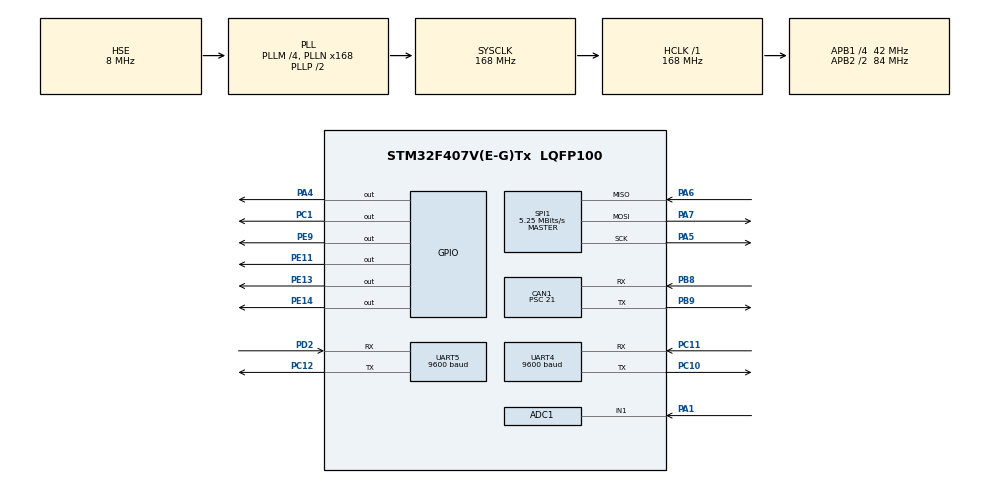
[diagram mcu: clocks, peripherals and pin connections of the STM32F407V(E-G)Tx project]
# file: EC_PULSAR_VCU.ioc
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ADC1.Channel-0\#ChannelRegularConversion=ADC_CHANNEL_1
ADC1.ContinuousConvMode=ENABLE
ADC1.DMAContinuousRequests=ENABLE
ADC1.NbrOfConversionFlag=1
ADC1.Rank-0\#ChannelRegularConversion=1
ADC1.SamplingTime-0\#ChannelRegularConversion=ADC_SAMPLETIME_112CYCLES
ADC1.ScanConvMode=ENABLE
ADC1.master=1
CAN1.BS1=CAN_BS1_10TQ
CAN1.BS2=CAN_BS2_5TQ
CAN1.CalculateBaudRate=125000
CAN1.CalculateTimeBit=8000
CAN1.CalculateTimeQuantum=500.0
CAN1.Prescaler=21
Dma.ADC1.0.Direction=DMA_PERIPH_TO_MEMORY
Dma.ADC1.0.FIFOMode=DMA_FIFOMODE_DISABLE
Dma.ADC1.0.Instance=DMA2_Stream0
Dma.ADC1.0.MemDataAlignment=DMA_MDATAALIGN_WORD
Dma.ADC1.0.MemInc=DMA_MINC_ENABLE
Dma.ADC1.0.Mode=DMA_CIRCULAR
Dma.ADC1.0.PeriphDataAlignment=DMA_PDATAALIGN_WORD
Dma.ADC1.0.PeriphInc=DMA_PINC_DISABLE
Dma.ADC1.0.Priority=DMA_PRIORITY_LOW
Dma.Request0=ADC1
FATFS._MAX_SS=4096
FATFS._USE_LFN=1
Mcu.Family=STM32F4
Mcu.Name=STM32F407V(E-G)Tx
Mcu.Package=LQFP100
NVIC.CAN1_RX0_IRQn=true\:0\:0\:false\:false\:true\:true\:true\:true
NVIC.DMA2_Stream0_IRQn=true\:0\:0\:false\:false\:true\:false\:true\:true
NVIC.PriorityGroup=NVIC_PRIORITYGROUP_4
NVIC.TIM2_IRQn=true\:0\:0\:false\:false\:true\:true\:true\:true
PA1.Signal=ADCx_IN1
PA13.Mode=Serial_Wire
PA13.Signal=SYS_JTMS-SWDIO
PA14.Mode=Serial_Wire
PA14.Signal=SYS_JTCK-SWCLK
PA4.Signal=GPIO_Output
PA5.Mode=Full_Duplex_Master
PA5.Signal=SPI1_SCK
PA6.Mode=Full_Duplex_Master
PA6.Signal=SPI1_MISO
PA7.Mode=Full_Duplex_Master
PA7.Signal=SPI1_MOSI
PB8.Mode=CAN_Activate
PB8.Signal=CAN1_RX
PB9.Mode=CAN_Activate
PB9.Signal=CAN1_TX
PC1.Signal=GPIO_Output
PC10.Mode=Asynchronous
PC10.Signal=UART4_TX
PC11.Mode=Asynchronous
PC11.Signal=UART4_RX
PC12.Mode=Asynchronous
PC12.Signal=UART5_TX
PC14-OSC32_IN.Mode=LSE-External-Oscillator
PC14-OSC32_IN.Signal=RCC_OSC32_IN
PC15-OSC32_OUT.Mode=LSE-External-Oscillator
PC15-OSC32_OUT.Signal=RCC_OSC32_OUT
PD2.Mode=Asynchronous
PD2.Signal=UART5_RX
PE11.Signal=GPIO_Output
PE13.Signal=GPIO_Output
PE14.Signal=GPIO_Output
PE9.Signal=GPIO_Output
PH0-OSC_IN.Mode=HSE-External-Oscillator
PH0-OSC_IN.Signal=RCC_OSC_IN
PH1-OSC_OUT.Mode=HSE-External-Oscillator
PH1-OSC_OUT.Signal=RCC_OSC_OUT
ProjectManager.HeapSize=0x200
ProjectManager.StackSize=0x400
ProjectManager.TargetToolchain=STM32CubeIDE
RCC.48MHZClocksFreq_Value=84000000
RCC.AHBFreq_Value=168000000
RCC.APB1CLKDivider=RCC_HCLK_DIV4
RCC.APB1Freq_Value=42000000
RCC.APB1TimFreq_Value=84000000
RCC.APB2CLKDivider=RCC_HCLK_DIV2
RCC.APB2Freq_Value=84000000
RCC.APB2TimFreq_Value=168000000
RCC.CortexFreq_Value=168000000
RCC.HCLKFreq_Value=168000000
RCC.HSE_VALUE=8000000
RCC.HSI_VALUE=16000000
RCC.PLLM=4
RCC.PLLN=168
RCC.PLLSourceVirtual=RCC_PLLSOURCE_HSE
RCC.SYSCLKFreq_VALUE=168000000
RCC.SYSCLKSource=RCC_SYSCLKSOURCE_PLLCLK
RCC.VCOOutputFreq_Value=336000000
SH.ADCx_IN1.0=ADC1_IN1,IN1
SPI1.BaudRatePrescaler=SPI_BAUDRATEPRESCALER_16
SPI1.CalculateBaudRate=5.25 MBits/s
SPI1.Direction=SPI_DIRECTION_2LINES
SPI1.Mode=SPI_MODE_MASTER
SPI1.VirtualType=VM_MASTER
TIM2.Period=400-1
TIM2.Prescaler=8399
UART4.BaudRate=9600
UART4.VirtualMode=Asynchronous
UART5.BaudRate=9600
UART5.VirtualMode=Asynchronous
VP_FATFS_VS_Generic.Mode=User_defined
VP_TIM2_VS_ClockSourceINT.Mode=Internal
board=custom

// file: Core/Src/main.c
/* USER CODE BEGIN Header */
/**
  ******************************************************************************
  * @file          : main.c
  * @brief          : Main program body
  ******************************************************************************
  * @attention
  *
  * Copyright (c) 2024 STMicroelectronics.
  * All rights reserved.
  *
  * This software is licensed under terms that can be found in the LICENSE file
  * in the root directory of this software component.
  * If no LICENSE file comes with this software, it is provided AS-IS.
  *
  ******************************************************************************
  */
/* USER CODE END Header */
#include "main.h"
#include "fatfs.h"

/* USER CODE BEGIN PD */
FATFS fs;
FIL fil;
#define CAN_TIMEOUT 40
CAN_TxHeaderTypeDef pHeader;
CAN_RxHeaderTypeDef pRxHeader;
CAN_FilterTypeDef sFilterConfig;
uint8_t rxData[8];

uint16_t arac_hiz=0;
uint16_t motor_temp_tam=0;
uint16_t motor_temp_on=0;
uint16_t surucu_temp_tam=0;
uint16_t surucu_temp_on=0;
float motor_temp=0;
float surucu_temp=0;
int a;
uint16_t sarj_gucu=0;
uint16_t kalan_sure=0;
uint16_t sarj_bilgisi=0;
uint16_t count1 =0;
uint16_t count2 =0;
uint32_t bms_timer = 0;
uint32_t motor_timer = 0;

uint32_t arac_hizi =0;
uint32_t hiz_ibresi =0;
char mesaj[];

float sicaklik=0;
float hucre1=0;
float hucre2=0;
float hucre3=0;
float hucre4=0;
float hucre5=0;
float hucre6=0;
float hucre7=0;
float hucre8=0;
float hucre9=0;
float hucre10=0;
float hucre11=0;
float hucre12=0;
float hucre13=0;
float hucre14=0;
float hucre15=0;
float hucre16=0;
float hucre17=0;
float hucre18=0;
float hucre19=0;
float hucre20=0;
float hucre21=0;
float hucre22=0;
float toplam_gerilim=0;
float kalan_enerj_miktari=0;

int32_t int_sicaklik=0;
int32_t int_hucre1=0;
int32_t int_hucre2=0;
int32_t int_hucre3=0;
int32_t int_hucre4=0;
int32_t int_hucre5=0;
int32_t int_hucre6=0;
int32_t int_hucre7=0;
int32_t int_hucre8=0;
int32_t int_hucre9=0;
int32_t int_hucre10=0;
int32_t int_hucre11=0;
int32_t int_hucre12=0;
int32_t int_hucre13=0;
int32_t int_hucre14=0;
int32_t int_hucre15=0;
int32_t int_hucre16=0;
int32_t int_hucre17=0;
int32_t int_hucre18=0;
int32_t int_hucre19=0;
int32_t int_hucre20=0;
int32_t int_hucre21=0;
int32_t int_hucre22=0;
int32_t int_toplam_gerilim=0;
int32_t int_kalan_enerj_miktari=0;

char motors [20];
char bataryas [20];
char arachızs [20];
char kalans [20];
char topgerilims [20];
char kalansures [20];
char sarjgucus [20];
int bat_sicaklik;
//batarya yüzdesi eksik
//arac modu
char h1s [20];
char h2s [20];
char h3s [20];
char h4s [20];
char h5s [20];
char h6s [20];
char h7s [20];
char h8s [20];
char h9s [20];
char h9s [20];
char h10s [20];
char h11s [20];
char h12s [20];
char h13s [20];
char h14s [20];
char h15s [20];
char h16s [20];
char h17s [20];
char h18s [20];
char h19s [20];
char h20s [20];
char h21s [20];
char h22s [20];

char  H1 []= "h1"  ; //Hucre 1
char  H2 []= "h2" ; //Hucre 2
char  H3 []= "h3" ; //Hucre 3
char  H4 []= "h4" ; //Hucre 4
char  H5 []= "h5" ; //Hucre 5
char  H6 []= "h6"  ; //Hucre 6
char  H7 []= "h7"  ; //Hucre 7
char  H8 []= "h8"  ; //Hucre 8
char  H9 []= "h9"  ; //Hucre 9
char  H10[]= "h10"  ; //Hucre 10
char  H11[]= "h11" ; //Hucre 11
char  H12[]= "h12"  ; //Hucre 12
char  H13[]= "h13"  ; //Hucre 13
char  H14[]= "h14"  ; //Hucre 14
char  H15[]= "h15"  ; //Hucre 15
char  H16[]= "h16" ; //Hucre 16
char  H17[]= "h17" ; //Hucre 17
char  H18[]= "h18" ; //Hucre 18
char  H19[]= "h19" ; //Hucre 19
char  H20[]= "h20" ; //Hucre 20
char  H21[]= "h21" ; //Hucre 21
char  H22[]= "h22" ; //Hucre 22

/*Tam şarja kalan süre,Batarya toplam gerilim,Kalan enerji Miktarı,�?arj gücü değişkenlerini
                  *  oluşturduk nextion parametresini anlaşılabilir olarak kullandık  */

char  tsks[]= "t61" ; //Tam şarja kalan süre
char  btg[]= "t65" 	;  //Batarya toplam gerilim
char  kem[]= "t63"	;  //Kalan enerji Miktarı
char  sg[]= "t64" 	;   //�?arj gücü
char  ms[]= "t62" 	;	  //motor sicakligi
char  bs[]= "t60" 	;	  //batarya sicakligi
char  arac_modu []= "t80" 	;

//akım okuma
uint16_t data1;
uint32_t adc_value[1];
int current;

/* USER CODE END PD */

ADC_HandleTypeDef hadc1;
DMA_HandleTypeDef hdma_adc1;

CAN_HandleTypeDef hcan1;

SPI_HandleTypeDef hspi1;

TIM_HandleTypeDef htim2;

UART_HandleTypeDef huart4;
UART_HandleTypeDef huart5;

/* USER CODE BEGIN PV */
uint32_t hiz_ibresiderece;
uint32_t arac_hizi;
uint32_t toplam_batarya;
uint32_t batarya_sicaklik ;
/* USER CODE END PV */

void SystemClock_Config(void);
static void MX_GPIO_Init(void);
static void MX_DMA_Init(void);
static void MX_CAN1_Init(void);
static void MX_TIM2_Init(void);
static void MX_UART4_Init(void);
static void MX_UART5_Init(void);
static void MX_SPI1_Init(void);
static void MX_ADC1_Init(void);

/* USER CODE BEGIN 0 */

void HAL_ADC_ConvCpltCallback(ADC_HandleTypeDef* hadc){

	if(hadc->Instance == ADC1)
		{
		//Temperature Read DMA
		data1 = adc_value[0];
		}
}
double Curr (int akim){  //Throttle Function for in While Working
	  current = akim;
	  current = current * (-0.01);
	  current = current +62-31 -1,3;
	  return current;
}

void HAL_TIM_PeriodElapsedCallback(TIM_HandleTypeDef *htim)
{
  if (htim->Instance == TIM2) {
	  count1++;
	  bms_timer++;
	  motor_timer++;
	  if (bms_timer > CAN_TIMEOUT) {
		  	  	int_sicaklik = 0;
		  	    int_hucre1 = 0;
		  	    int_hucre2 = 0;
		  	    int_hucre3 =0;
		  	    int_hucre4=0;
		  	    int_hucre5=0;
		  	    int_hucre6=0;
		  	    int_hucre7=0;
		  	    int_hucre8=0;
		  	    int_hucre9=0;
		  	    int_hucre10=0;
		  	    int_hucre11=0;
		  	    int_hucre12=0;
		  	    int_hucre13=0;
		  	    int_hucre14=0;
		  	    int_hucre15=0;
		  	    int_hucre16=0;
		  	    int_hucre17=0;
		        int_hucre18=0;
		  	    int_hucre19=0;
		  	    int_hucre20=0;
		  	    int_hucre21=0;
		  	    int_hucre22=0;
		  	    int_toplam_gerilim=0;
		  	    int_kalan_enerj_miktari=0;
	            sicaklik = 0;
	            hucre1 = 0;
	            hucre2 = 0;
	            hucre3 = 0;
	            hucre4 = 0;
	            hucre5 = 0;
	            hucre6 = 0;
	            hucre7 = 0;
	            hucre8 = 0;
	            hucre9 = 0;
	            hucre10 = 0;
	            hucre11 = 0;
	            hucre12 = 0;
	            hucre13 = 0;
	            hucre14 = 0;
	            hucre15 = 0;
	            hucre16 = 0;
	            hucre17 = 0;
	            hucre18 = 0;
	            hucre19 = 0;
	            hucre20 = 0;
	            hucre21 = 0;
	            hucre22 = 0;
	            toplam_gerilim = 0;
	            kalan_enerj_miktari = 0;
	        }
	  if (motor_timer > CAN_TIMEOUT) {
		        motor_temp_tam=0;
		        motor_temp_on=0;
		        surucu_temp_tam=0;
		        surucu_temp_on=0;
	            arac_hiz = 0;
	            motor_temp = 0.0f;
	            surucu_temp = 0.0f;
	          }

  }
}

void HAL_CAN_RxFifo0MsgPendingCallback(CAN_HandleTypeDef *hcan)
{
 /*
   if (HAL_CAN_GetRxMessage(hcan, CAN_RX_FIFO0, &pRxHeader, rxData) == HAL_OK) {

        if (pRxHeader.StdId == 0x0127) { // motor sürücü
            arac_hiz = (uint16_t)(rxData[0] | (rxData[1] << 8));
            motor_temp_tam = (uint16_t)(rxData[2] | (rxData[3] << 8));
            motor_temp_on = (uint16_t)(rxData[4] | (rxData[5] << 8));
            surucu_temp_tam = (uint16_t)(rxData[6] | (rxData[7] << 8));
            motor_temp = motor_temp_tam + (motor_temp_on / 100.0f);
            motor_timer = 0;

        }
        else if (pRxHeader.StdId == 0x0128) { // motor sürücü
            surucu_temp_on = (uint16_t)(rxData[0] | (rxData[1] << 8));
            surucu_temp = surucu_temp_tam + (surucu_temp_on / 100.0f);
            motor_timer = 0;

        }

        else if (pRxHeader.StdId == 0x0129) { // yerleşik şarj
            sarj_gucu = (uint16_t)(rxData[0] | (rxData[1] << 8));
            kalan_sure = (uint16_t)(rxData[2] | (rxData[3] << 8));
            sarj_bilgisi = (uint16_t)(rxData[4] | (rxData[5] << 8));

        }
        else if (pRxHeader.StdId == 0x0130) {  //bms
            int_sicaklik = (uint16_t)(rxData[0] | (rxData[1] << 8));
            int_hucre1 = (uint16_t)(rxData[2] | (rxData[3] << 8));
            int_hucre2 = (uint16_t)(rxData[4] | (rxData[5] << 8));
            int_hucre3 = (uint16_t)(rxData[6] | (rxData[7] << 8));

            sicaklik = (int_sicaklik / 1000.0f);
            bat_sicaklik= int_sicaklik/1000;
            hucre1 = (int_hucre1 / 10000.0f);
            hucre2 = (int_hucre2 / 10000.0f);
            hucre3 = (int_hucre3 / 10000.0f);
            bms_timer = 0;

        }
        else if (pRxHeader.StdId == 0x0131) {
            int_hucre4 = (uint16_t)(rxData[0] | (rxData[1] << 8));
            int_hucre5 = (uint16_t)(rxData[2] | (rxData[3] << 8));
            int_hucre6 = (uint16_t)(rxData[4] | (rxData[5] << 8));
            int_hucre7 = (uint16_t)(rxData[6] | (rxData[7] << 8));

            hucre4 = (int_hucre4 / 10000.0f);
            hucre5 = (int_hucre5 / 10000.0f);
            hucre6 = (int_hucre6 / 10000.0f);
            hucre7 = (int_hucre7 / 10000.0f);
            bms_timer = 0;

        }
        else if (pRxHeader.StdId == 0x0132) {
            int_hucre8 = (uint16_t)(rxData[0] | (rxData[1] << 8));
            int_hucre9 = (uint16_t)(rxData[2] | (rxData[3] << 8));
            int_hucre10 = (uint16_t)(rxData[4] | (rxData[5] << 8));
            int_hucre11 = (uint16_t)(rxData[6] | (rxData[7] << 8));

            hucre8 = (int_hucre8 / 10000.0f);
            hucre9 = (int_hucre9 / 10000.0f);
            hucre10 = (int_hucre10 / 10000.0f);
            hucre11 = (int_hucre11 / 10000.0f);
            bms_timer = 0;

        }
        else if (pRxHeader.StdId == 0x0133) {
            int_hucre12 = (uint16_t)(rxData[0] | (rxData[1] << 8));
            int_hucre13 = (uint16_t)(rxData[2] | (rxData[3] << 8));
            int_hucre14 = (uint16_t)(rxData[4] | (rxData[5] << 8));
            int_hucre15 = (uint16_t)(rxData[6] | (rxData[7] << 8));

            hucre12 = (int_hucre12 / 10000.0f);
            hucre13 = (int_hucre13 / 10000.0f);
            hucre14 = (int_hucre14 / 10000.0f);
            hucre15 = (int_hucre15 / 10000.0f);
            bms_timer = 0;

        }
        else if (pRxHeader.StdId == 0x0134) {
            int_hucre16 = (uint16_t)(rxData[0] | (rxData[1] << 8));
            int_hucre17 = (uint16_t)(rxData[2] | (rxData[3] << 8));
            int_hucre18 = (uint16_t)(rxData[4] | (rxData[5] << 8));
            int_hucre19 = (uint16_t)(rxData[6] | (rxData[7] << 8));

            hucre16 = (int_hucre16 / 10000.0f);
            hucre17 = (int_hucre17 / 10000.0f);
            hucre18 = (int_hucre18 / 10000.0f);
            hucre19 = (int_hucre19 / 10000.0f);
            bms_timer = 0;

        }
        else if (pRxHeader.StdId == 0x0135) {
            int_hucre20 = (uint16_t)(rxData[0] | (rxData[1] << 8));
            int_hucre21 = (uint16_t)(rxData[2] | (rxData[3] << 8));
            int_hucre22 = (uint16_t)(rxData[4] | (rxData[5] << 8));
            int_toplam_gerilim = (uint16_t)(rxData[6] | (rxData[7] << 8));

            hucre20 = (int_hucre20 / 10000.0f);
            hucre21 = (int_hucre21 / 10000.0f);
            hucre22 = (int_hucre22 / 10000.0f);
            toplam_gerilim = (int_toplam_gerilim / 100.0f);

            bms_timer = 0;

        }
        else if (pRxHeader.StdId == 0x0136) {
            int_kalan_enerj_miktari = (uint16_t)(rxData[0] | (rxData[1] << 8));
            kalan_enerj_miktari = (int_kalan_enerj_miktari / 100.0f);
            bms_timer = 0;

        }

    return;
    }

}*/
	if (HAL_CAN_GetRxMessage(hcan, CAN_RX_FIFO0, &pRxHeader, rxData) == HAL_OK) {
	        if (pRxHeader.StdId == 0x0127 || pRxHeader.StdId == 0x0128) {
	            // motor sürücü verileri alındı
	            motor_timer = 0; // Zamanlayıcıyı sıfırla

	            if (pRxHeader.StdId == 0x0127) {
	                arac_hiz = (uint16_t)(rxData[0] | (rxData[1] << 8));
	                motor_temp_tam = (uint16_t)(rxData[2] | (rxData[3] << 8));
	                motor_temp_on = (uint16_t)(rxData[4] | (rxData[5] << 8));
	                surucu_temp_tam = (uint16_t)(rxData[6] | (rxData[7] << 8));
	                motor_temp = motor_temp_tam + (motor_temp_on / 100.0f);
	            } else if (pRxHeader.StdId == 0x0128) {
	                surucu_temp_on = (uint16_t)(rxData[0] | (rxData[1] << 8));
	                surucu_temp = surucu_temp_tam + (surucu_temp_on / 100.0f);
	            }
	        }
	        else if (pRxHeader.StdId >= 0x0130 && pRxHeader.StdId <= 0x0136) {
	            // BMS verileri alındı
	            bms_timer = 0; // Zamanlayıcıyı sıfırla

	            if (pRxHeader.StdId == 0x0130) {
	            	int_sicaklik = (uint16_t)(rxData[0] | (rxData[1] << 8));//bu kısım değişti
	                int_hucre1 = (uint16_t)(rxData[2] | (rxData[3] << 8));
	                int_hucre2 = (uint16_t)(rxData[4] | (rxData[5] << 8));
	                int_hucre3 = (uint16_t)(rxData[6] | (rxData[7] << 8));
	                sicaklik = (int_sicaklik / 1000.0f);
	                bat_sicaklik = int_sicaklik / 1000;
	                hucre1 = (int_hucre1 / 10000.0f);
	                hucre2 = (int_hucre2 / 10000.0f);
	                hucre3 = (int_hucre3 / 10000.0f);
	            } else if (pRxHeader.StdId == 0x0131) {
	                int_hucre4 = (uint16_t)(rxData[0] | (rxData[1] << 8));
	                int_hucre5 = (uint16_t)(rxData[2] | (rxData[3] << 8));
	                int_hucre6 = (uint16_t)(rxData[4] | (rxData[5] << 8));
	                int_hucre7 = (uint16_t)(rxData[6] | (rxData[7] << 8));
	                hucre4 = (int_hucre4 / 10000.0f);
	                hucre5 = (int_hucre5 / 10000.0f);
	                hucre6 = (int_hucre6 / 10000.0f);
	                hucre7 = (int_hucre7 / 10000.0f);
	            } else if (pRxHeader.StdId == 0x0132) {
	                int_hucre8 = (uint16_t)(rxData[0] | (rxData[1] << 8));
	                int_hucre9 = (uint16_t)(rxData[2] | (rxData[3] << 8));
	                int_hucre10 = (uint16_t)(rxData[4] | (rxData[5] << 8));
	                int_hucre11 = (uint16_t)(rxData[6] | (rxData[7] << 8));
	                hucre8 = (int_hucre8 / 10000.0f);
	                hucre9 = (int_hucre9 / 10000.0f);
	                hucre10 = (int_hucre10 / 10000.0f);
	                hucre11 = (int_hucre11 / 10000.0f);
	            } else if (pRxHeader.StdId == 0x0133) {
	                int_hucre12 = (uint16_t)(rxData[0] | (rxData[1] << 8));
	                int_hucre13 = (uint16_t)(rxData[2] | (rxData[3] << 8));
	                int_hucre14 = (uint16_t)(rxData[4] | (rxData[5] << 8));
	                int_hucre15 = (uint16_t)(rxData[6] | (rxData[7] << 8));
	                hucre12 = (int_hucre12 / 10000.0f);
	                hucre13 = (int_hucre13 / 10000.0f);
	                hucre14 = (int_hucre14 / 10000.0f);
	                hucre15 = (int_hucre15 / 10000.0f);
	            } else if (pRxHeader.StdId == 0x0134) {
	                int_hucre16 = (uint16_t)(rxData[0] | (rxData[1] << 8));
	                int_hucre17 = (uint16_t)(rxData[2] | (rxData[3] << 8));
	                int_hucre18 = (uint16_t)(rxData[4] | (rxData[5] << 8));
	                int_hucre19 = (uint16_t)(rxData[6] | (rxData[7] << 8));
	                hucre16 = (int_hucre16 / 10000.0f);
	                hucre17 = (int_hucre17 / 10000.0f);
	                hucre18 = (int_hucre18 / 10000.0f);
	                hucre19 = (int_hucre19 / 10000.0f);
	            } else if (pRxHeader.StdId == 0x0135) {
	                int_hucre20 = (uint16_t)(rxData[0] | (rxData[1] << 8));
	                int_hucre21 = (uint16_t)(rxData[2] | (rxData[3] << 8));
	                int_hucre22 = (uint16_t)(rxData[4] | (rxData[5] << 8));
	                int_toplam_gerilim = (uint16_t)(rxData[6] | (rxData[7] << 8));
	                hucre20 = (int_hucre20 / 10000.0f);
	                hucre21 = (int_hucre21 / 10000.0f);
	                hucre22 = (int_hucre22 / 10000.0f);
	                toplam_gerilim = (int_toplam_gerilim / 100.0f);
	            } else if (pRxHeader.StdId == 0x0136) {
	                int_kalan_enerj_miktari = (uint16_t)(rxData[0] | (rxData[1] << 8));
	                kalan_enerj_miktari = (int_kalan_enerj_miktari / 100.0f);
	            }
	        }

	        return;
	    }
	}

void LORA_SendString (char *string)
{
	char buf[100]; // göndereceğimiz mesajın boyutu
	int len= sprintf(buf,"%s",string); // hangi bloğun içine yollacaksak onun txt sini yazıyoruz
	HAL_UART_Transmit(&huart5,(uint8_t *)buf,len,1000); //mesajımızı göndermek için(sol kısım)
}

uint8_t Cmd_End[3] = {0xFF,0xFF,0xFF}; //gönderileriminizin en sondaki 3 basamağı
void NEXTION_SendString (char *ID,char *string)
{
	char buf[50]; // göndereceğimiz mesajın boyutu
	int len= sprintf(buf,"%s.txt=\"%s\"",ID,string); // hangi bloğun içine yollacaksak onun txt sini yazıyoruz
	HAL_UART_Transmit(&huart4,(uint8_t *)buf,len,1000); //mesajımızı göndermek için(sol kısım)
	HAL_UART_Transmit(&huart4,Cmd_End,3,100); // 3 elemanlı yazımızın geri kalan sağ kısmı için
}
void NEXTION_SendNum(char *obj,int32_t num)
{
	uint8_t *buffer=malloc(30*sizeof(char));
	int len =sprintf((char *)buffer,"%s.val=%d",obj,num); //göndereceğimiz derin sayısal değerlerini ve diğer parametleri yazıyoruz
	HAL_UART_Transmit(&huart4,buffer,len,1000);
	HAL_UART_Transmit(&huart4,Cmd_End,3,100);
	free(buffer);
}
void SendtoPB(char *obj,uint16_t value)
{
	char buf[30];
	int len=sprintf(buf,"%s=%u",obj,value);
	HAL_UART_Transmit(&huart4,(uint8_t *)buf,len,1000);
	HAL_UART_Transmit(&huart4,Cmd_End,3,1000);

}

/* USER CODE END 0 */

int main(void)
{

  /* MCU Configuration--------------------------------------------------------*/

  /* Reset of all peripherals, Initializes the Flash interface and the Systick. */
  HAL_Init();

  /* Configure the system clock */
  SystemClock_Config();

  /* Initialize all configured peripherals */
  MX_GPIO_Init();
  MX_DMA_Init();
  MX_CAN1_Init();
  MX_TIM2_Init();
  MX_UART4_Init();
  MX_UART5_Init();
  MX_SPI1_Init();
  MX_FATFS_Init();
  MX_ADC1_Init();
  /* USER CODE BEGIN 2 */

    sFilterConfig.FilterActivation= ENABLE;
    sFilterConfig.FilterBank=0;
    sFilterConfig.FilterFIFOAssignment=CAN_FILTER_FIFO0;
    sFilterConfig.FilterIdHigh=0x0000;
    sFilterConfig.FilterIdLow=0x0000;
    sFilterConfig.FilterMaskIdHigh=(0x0130 << 5);
    sFilterConfig.FilterMaskIdLow=0x0000;
    sFilterConfig.FilterMode=CAN_FILTERMODE_IDMASK;
    sFilterConfig.FilterScale=CAN_FILTERSCALE_32BIT;
    HAL_CAN_ConfigFilter(&hcan1,&sFilterConfig);
    HAL_CAN_Start(&hcan1);
    //interrupt
    HAL_CAN_ActivateNotification(&hcan1, CAN_IT_RX_FIFO0_MSG_PENDING);

    HAL_TIM_Base_Start_IT(&htim2);

    HAL_ADC_Start_DMA(&hadc1, adc_value, 1); // ADC with DMA Start
    a=1;
  /* USER CODE END 2 */

  /* Infinite loop */
  /* USER CODE BEGIN WHILE */

while (1)
{
	if(a=1){
		HAL_GPIO_WritePin(GPIOE, GPIO_PIN_13, GPIO_PIN_SET); // LED'i yak
	}
	current = Curr(adc_value[0]);

	/*if (current >= 1)
			 {

		HAL_GPIO_WritePin(GPIOE, GPIO_PIN_13, GPIO_PIN_RESET); // LED'i yak
		NEXTION_SendString(&arac_modu,"Sarj");  //Araç modu
		HAL_Delay(1);

	}
	else {
		HAL_GPIO_WritePin(GPIOE, GPIO_PIN_13, GPIO_PIN_SET);
		NEXTION_SendString(&arac_modu,"Surus");  //Araç modu
		HAL_Delay(1);

	}*/
	char result[120];
		//    sprintf(result, "STM32 Test %d\n", i);
		    sprintf(result, "%lu,%d,%d,%d,%d\n", HAL_GetTick(), arac_hiz, bat_sicaklik, (int)toplam_gerilim, (int)toplam_gerilim);
		HAL_Delay(500);
		  f_mount(&fs, "", 0);
		  f_open(&fil, "write.txt", FA_OPEN_ALWAYS | FA_WRITE | FA_READ);
		  f_lseek(&fil, f_size(&fil));
		  f_puts(result, &fil);
		  f_close(&fil);

		 sprintf(motors,"%d",motor_temp_tam);//motor temp
		 sprintf(bataryas,"%d",int_sicaklik);//batarya temp
		 sprintf(arachızs,"%d",arac_hiz);//arac hızı
		 sprintf(kalans,"%d",int_kalan_enerj_miktari/100);//kalan enerji miktarı
		 sprintf(topgerilims,"%d",int_toplam_gerilim/100);//toplam gerilim
		 sprintf(kalansures,"%d",kalan_sure);//kalan sure
		 sprintf(sarjgucus,"%d",sarj_gucu);//sarj gücü

		 //batarya yüzdesi eksik

		 sprintf(h1s,"%d.%d",int_hucre1/10000,int_hucre1%10000);
		 sprintf(h2s,"%d.%d",int_hucre2/10000,int_hucre2%10000);
		 sprintf(h3s,"%d.%d",int_hucre3/10000,int_hucre3%10000);
		 sprintf(h4s,"%d.%d",int_hucre4/10000,int_hucre4%10000);
		 sprintf(h5s,"%d.%d",int_hucre5/10000,int_hucre5%10000);
		 sprintf(h6s,"%d.%d",int_hucre6/10000,int_hucre6%10000);
		 sprintf(h7s,"%d.%d",int_hucre7/10000,int_hucre7%10000);
		 sprintf(h8s,"%d.%d",int_hucre8/10000,int_hucre8%10000);
		 sprintf(h9s,"%d.%d",int_hucre9/10000,int_hucre9%10000);
		 sprintf(h10s,"%d.%d",int_hucre10/10000,int_hucre10%10000);
		 sprintf(h11s,"%d.%d",int_hucre11/10000,int_hucre11%10000);
		 sprintf(h12s,"%d.%d",int_hucre12/10000,int_hucre12%10000);
		 sprintf(h13s,"%d.%d",int_hucre13/10000,int_hucre13%10000);
		 sprintf(h14s,"%d.%d",int_hucre14/10000,int_hucre14%10000);
		 sprintf(h15s,"%d.%d",int_hucre15/10000,int_hucre15%10000);
		 sprintf(h16s,"%d.%d",int_hucre16/10000,int_hucre16%10000);
		 sprintf(h17s,"%d.%d",int_hucre17/10000,int_hucre17%10000);
		 sprintf(h18s,"%d.%d",int_hucre18/10000,int_hucre18%10000);
		 sprintf(h19s,"%d.%d",int_hucre19/10000,int_hucre19%10000);
		 sprintf(h20s,"%d.%d",int_hucre20/10000,int_hucre20%10000);
		 sprintf(h21s,"%d.%d",int_hucre21/10000,int_hucre21%10000);
		 sprintf(h22s,"%d.%d",int_hucre22/10000,int_hucre22%10000);

		 if(arac_hizi <= 5)
		 		  		  {
		 		  hiz_ibresiderece = ((arac_hizi*3)+337);

		 		  }
		 		  if(arac_hizi > 5 && arac_hizi < 7)
		 						  		  {
		 						  hiz_ibresiderece = ((arac_hizi*5)+325);

		 						  }

		 		  if(arac_hizi >= 7 && arac_hizi < 10)
		 							  		  {
		 							  hiz_ibresiderece = (((arac_hizi*5)+326)-360);

		 							  }

		 		  if(arac_hizi >= 10)
		 							  		  {
		 							  hiz_ibresiderece = (arac_hizi*5)-37;

		 							  }

		 NEXTION_SendString(&H1, &h1s); //Hucre 1
		 NEXTION_SendString(&H2, &h2s); //Hucre 2
		 NEXTION_SendString(&H3, &h3s); //Hucre 3
		 NEXTION_SendString(&H4, &h4s); //Hucre 4
		 NEXTION_SendString(&H5, &h5s); //Hucre 5
		 NEXTION_SendString(&H6, &h6s); //Hucre 6
		 NEXTION_SendString(&H7,  &h7s); //Hucre 7
		 NEXTION_SendString(&H8,  &h8s); //Hucre 8
		 NEXTION_SendString(&H9,  &h9s); //Hucre 9
		 NEXTION_SendString(&H10, &h10s); //Hucre 10
		 NEXTION_SendString(&H11, &h11s); //Hucre 11
		 NEXTION_SendString(&H12, &h12s); //Hucre 12
		 NEXTION_SendString(&H13, &h13s); //Hucre 13
		 NEXTION_SendString(&H14, &h14s); //Hucre 14
		 NEXTION_SendString(&H15, &h15s); //Hucre 15
		 NEXTION_SendString(&H16, &h16s); //Hucre 16
		 NEXTION_SendString(&H17, &h17s); //Hucre 17
		 NEXTION_SendString(&H18, &h18s); //Hucre 18
		 NEXTION_SendString(&H19, &h19s); //Hucre 19
		 NEXTION_SendString(&H20, &h20s); //Hucre 20
		 NEXTION_SendString(&H21, &h21s); //Hucre 21
		 NEXTION_SendString(&H22, &h22s); //Hucre 22

		 NEXTION_SendString(&tsks, &kalansures); //Tam şarja kalan süre
		 NEXTION_SendString(&btg,  &topgerilims);  //Batarya toplam gerilim
		 NEXTION_SendString(&kem, &kalans);  //Kalan enerji miktarı
		 NEXTION_SendString(&sg,   &sarjgucus);  //sarj gücü

		 NEXTION_SendNum("z0",hiz_ibresiderece);
		 SendtoPB("j1.val",toplam_batarya); // Kalan batarya yüzdesi
		 SendtoPB("j0.val",batarya_sicaklik); // Batarya Sıcaklığı

		 		  NEXTION_SendNum("n0",arac_hizi); //dijital hız

		 sprintf(motors,"AF6%dB",motor_temp_tam);
		 LORA_SendString(&motors);
		 HAL_Delay(150);
		 sprintf(bataryas,"AF7%dB",bat_sicaklik);//batarya temp
		 LORA_SendString(&bataryas);
		 HAL_Delay(150);
		 sprintf(arachızs,"AF5%dB",arac_hiz);//arac hızı
		 LORA_SendString(&arachızs);
		 HAL_Delay(150);
		 sprintf(kalans,"AG1%dB",int_kalan_enerj_miktari/100);//kalan enerji miktarı
		 LORA_SendString(&kalans);
		 HAL_Delay(150);
		 sprintf(topgerilims,"AF9%dB",int_toplam_gerilim/100);//toplam gerilim
		 LORA_SendString(&topgerilims);
		 HAL_Delay(150);
		 sprintf(kalansures,"AG2%dB",kalan_sure);//kalan sure
		 LORA_SendString(&kalansures);
		 HAL_Delay(150);
		 sprintf(sarjgucus,"AG3%dB",sarj_gucu);//sarj gücü
		 LORA_SendString(&sarjgucus);
		 HAL_Delay(150);

		 //TOPLAMbatarya yüzdesi eksik AF8%dB
		 LORA_SendString("AF8100B");
		 HAL_Delay(150);

		 sprintf(h1s,"AD1%d.%dB",int_hucre1/10000,int_hucre1%10000);
		 LORA_SendString(&h1s);
		 HAL_Delay(15);
		 sprintf(h2s,"AD2%d.%dB",int_hucre2/10000,int_hucre2%10000);
		 LORA_SendString(&h2s);
		 HAL_Delay(150);
		 sprintf(h3s,"AD3%d.%dB",int_hucre3/10000,int_hucre3%10000);
		 LORA_SendString(&h3s);
		 HAL_Delay(150);
		 sprintf(h4s,"AD4%d.%dB",int_hucre4/10000,int_hucre4%10000);
		 LORA_SendString(&h4s);
		 HAL_Delay(150);
		 sprintf(h5s,"AD5%d.%dB",int_hucre5/10000,int_hucre5%10000);
		 LORA_SendString(&h5s);
		 HAL_Delay(150);
		 sprintf(h6s,"AD6%d.%dB",int_hucre6/10000,int_hucre6%10000);
		 LORA_SendString(&h6s);
		 HAL_Delay(150);
		 sprintf(h7s,"AD7%d.%dB",int_hucre7/10000,int_hucre7%10000);
		 LORA_SendString(&h7s);
		 HAL_Delay(150);
		 sprintf(h8s,"AD8%d.%dB",int_hucre8/10000,int_hucre8%10000);
		 LORA_SendString(&h8s);
		 HAL_Delay(150);
		 sprintf(h9s,"AD9%d.%dB",int_hucre9/10000,int_hucre9%10000);
		 LORA_SendString(&h9s);
		 HAL_Delay(150);
		 sprintf(h10s,"AE1%d.%dB",int_hucre10/10000,int_hucre10%10000);
		 LORA_SendString(&h10s);
		 HAL_Delay(150);
		 sprintf(h11s,"AE2%d.%dB",int_hucre11/10000,int_hucre11%10000);
		 LORA_SendString(&h11s);
		 HAL_Delay(150);
		 sprintf(h12s,"AE3%d.%dB",int_hucre12/10000,int_hucre12%10000);
		 LORA_SendString(h12s);
		 HAL_Delay(150);
		 sprintf(h13s,"AE4%d.%dB",int_hucre13/10000,int_hucre13%10000);
		 LORA_SendString(&h13s);
		 HAL_Delay(150);
		 sprintf(h14s,"AE5%d.%dB",int_hucre14/10000,int_hucre14%10000);
		 LORA_SendString(&h14s);
		 HAL_Delay(150);
		 sprintf(h15s,"AE6%d.%dB",int_hucre15/10000,int_hucre15%10000);
		 LORA_SendString(&h15s);
		 HAL_Delay(150);
		 sprintf(h16s,"AE7%d.%dB",int_hucre16/10000,int_hucre16%10000);
		 LORA_SendString(&h16s);
		 HAL_Delay(150);
		 sprintf(h17s,"AE8%d.%dB",int_hucre17/10000,int_hucre17%10000);
		 LORA_SendString(&h17s);
		 HAL_Delay(150);
		 sprintf(h18s,"AE9%d.%dB",int_hucre18/10000,int_hucre18%10000);
		 LORA_SendString(&h18s);
		 HAL_Delay(150);
		 sprintf(h19s,"AF1%d.%dB",int_hucre19/10000,int_hucre19%10000);
		 LORA_SendString(&h19s);
		 HAL_Delay(150);
		 sprintf(h20s,"AF2%d.%dB",int_hucre20/10000,int_hucre20%10000);
		 LORA_SendString(&h20s);
		 HAL_Delay(150);
		 sprintf(h21s,"AF3%d.%dB",int_hucre21/10000,int_hucre21%10000);
		 LORA_SendString(&h21s);
		 HAL_Delay(150);
		 sprintf(h22s,"AF4%d.%dB",int_hucre22/10000,int_hucre22%10000);
		 LORA_SendString(&h22s);
		 HAL_Delay(150);

    /* USER CODE END WHILE */

}
}

void SystemClock_Config(void)
{
  RCC_OscInitTypeDef RCC_OscInitStruct = {0};
  RCC_ClkInitTypeDef RCC_ClkInitStruct = {0};

  /** Configure the main internal regulator output voltage
  */
  __HAL_RCC_PWR_CLK_ENABLE();
  __HAL_PWR_VOLTAGESCALING_CONFIG(PWR_REGULATOR_VOLTAGE_SCALE1);

  /** Initializes the RCC Oscillators according to the specified parameters
  * in the RCC_OscInitTypeDef structure.
  */
  RCC_OscInitStruct.OscillatorType = RCC_OSCILLATORTYPE_HSE;
  RCC_OscInitStruct.HSEState = RCC_HSE_ON;
  RCC_OscInitStruct.PLL.PLLState = RCC_PLL_ON;
  RCC_OscInitStruct.PLL.PLLSource = RCC_PLLSOURCE_HSE;
  RCC_OscInitStruct.PLL.PLLM = 4;
  RCC_OscInitStruct.PLL.PLLN = 168;
  RCC_OscInitStruct.PLL.PLLP = RCC_PLLP_DIV2;
  RCC_OscInitStruct.PLL.PLLQ = 4;
  if (HAL_RCC_OscConfig(&RCC_OscInitStruct) != HAL_OK)
  {
    Error_Handler();
  }

  /** Initializes the CPU, AHB and APB buses clocks
  */
  RCC_ClkInitStruct.ClockType = RCC_CLOCKTYPE_HCLK|RCC_CLOCKTYPE_SYSCLK
                              |RCC_CLOCKTYPE_PCLK1|RCC_CLOCKTYPE_PCLK2;
  RCC_ClkInitStruct.SYSCLKSource = RCC_SYSCLKSOURCE_PLLCLK;
  RCC_ClkInitStruct.AHBCLKDivider = RCC_SYSCLK_DIV1;
  RCC_ClkInitStruct.APB1CLKDivider = RCC_HCLK_DIV4;
  RCC_ClkInitStruct.APB2CLKDivider = RCC_HCLK_DIV2;

  if (HAL_RCC_ClockConfig(&RCC_ClkInitStruct, FLASH_LATENCY_5) != HAL_OK)
  {
    Error_Handler();
  }
}

static void MX_ADC1_Init(void)
{

  ADC_ChannelConfTypeDef sConfig = {0};

  /** Configure the global features of the ADC (Clock, Resolution, Data Alignment and number of conversion)
  */
  hadc1.Instance = ADC1;
  hadc1.Init.ClockPrescaler = ADC_CLOCK_SYNC_PCLK_DIV4;
  hadc1.Init.Resolution = ADC_RESOLUTION_12B;
  hadc1.Init.ScanConvMode = ENABLE;
  hadc1.Init.ContinuousConvMode = ENABLE;
  hadc1.Init.DiscontinuousConvMode = DISABLE;
  hadc1.Init.ExternalTrigConvEdge = ADC_EXTERNALTRIGCONVEDGE_NONE;
  hadc1.Init.ExternalTrigConv = ADC_SOFTWARE_START;
  hadc1.Init.DataAlign = ADC_DATAALIGN_RIGHT;
  hadc1.Init.NbrOfConversion = 1;
  hadc1.Init.DMAContinuousRequests = ENABLE;
  hadc1.Init.EOCSelection = ADC_EOC_SINGLE_CONV;
  if (HAL_ADC_Init(&hadc1) != HAL_OK)
  {
    Error_Handler();
  }

  /** Configure for the selected ADC regular channel its corresponding rank in the sequencer and its sample time.
  */
  sConfig.Channel = ADC_CHANNEL_1;
  sConfig.Rank = 1;
  sConfig.SamplingTime = ADC_SAMPLETIME_112CYCLES;
  if (HAL_ADC_ConfigChannel(&hadc1, &sConfig) != HAL_OK)
  {
    Error_Handler();
  }

}

static void MX_CAN1_Init(void)
{

  hcan1.Instance = CAN1;
  hcan1.Init.Prescaler = 21;
  hcan1.Init.Mode = CAN_MODE_NORMAL;
  hcan1.Init.SyncJumpWidth = CAN_SJW_1TQ;
  hcan1.Init.TimeSeg1 = CAN_BS1_10TQ;
  hcan1.Init.TimeSeg2 = CAN_BS2_5TQ;
  hcan1.Init.TimeTriggeredMode = DISABLE;
  hcan1.Init.AutoBusOff = DISABLE;
  hcan1.Init.AutoWakeUp = DISABLE;
  hcan1.Init.AutoRetransmission = DISABLE;
  hcan1.Init.ReceiveFifoLocked = DISABLE;
  hcan1.Init.TransmitFifoPriority = DISABLE;
  if (HAL_CAN_Init(&hcan1) != HAL_OK)
  {
    Error_Handler();
  }

}

static void MX_SPI1_Init(void)
{

  /* SPI1 parameter configuration*/
  hspi1.Instance = SPI1;
  hspi1.Init.Mode = SPI_MODE_MASTER;
  hspi1.Init.Direction = SPI_DIRECTION_2LINES;
  hspi1.Init.DataSize = SPI_DATASIZE_8BIT;
  hspi1.Init.CLKPolarity = SPI_POLARITY_LOW;
  hspi1.Init.CLKPhase = SPI_PHASE_1EDGE;
  hspi1.Init.NSS = SPI_NSS_SOFT;
  hspi1.Init.BaudRatePrescaler = SPI_BAUDRATEPRESCALER_16;
  hspi1.Init.FirstBit = SPI_FIRSTBIT_MSB;
  hspi1.Init.TIMode = SPI_TIMODE_DISABLE;
  hspi1.Init.CRCCalculation = SPI_CRCCALCULATION_DISABLE;
  hspi1.Init.CRCPolynomial = 10;
  if (HAL_SPI_Init(&hspi1) != HAL_OK)
  {
    Error_Handler();
  }

}

static void MX_TIM2_Init(void)
{

  TIM_ClockConfigTypeDef sClockSourceConfig = {0};
  TIM_MasterConfigTypeDef sMasterConfig = {0};

  htim2.Instance = TIM2;
  htim2.Init.Prescaler = 8399;
  htim2.Init.CounterMode = TIM_COUNTERMODE_UP;
  htim2.Init.Period = 400-1;
  htim2.Init.ClockDivision = TIM_CLOCKDIVISION_DIV1;
  htim2.Init.AutoReloadPreload = TIM_AUTORELOAD_PRELOAD_DISABLE;
  if (HAL_TIM_Base_Init(&htim2) != HAL_OK)
  {
    Error_Handler();
  }
  sClockSourceConfig.ClockSource = TIM_CLOCKSOURCE_INTERNAL;
  if (HAL_TIM_ConfigClockSource(&htim2, &sClockSourceConfig) != HAL_OK)
  {
    Error_Handler();
  }
  sMasterConfig.MasterOutputTrigger = TIM_TRGO_RESET;
  sMasterConfig.MasterSlaveMode = TIM_MASTERSLAVEMODE_DISABLE;
  if (HAL_TIMEx_MasterConfigSynchronization(&htim2, &sMasterConfig) != HAL_OK)
  {
    Error_Handler();
  }

}

static void MX_UART4_Init(void)
{

  huart4.Instance = UART4;
  huart4.Init.BaudRate = 9600;
  huart4.Init.WordLength = UART_WORDLENGTH_8B;
  huart4.Init.StopBits = UART_STOPBITS_1;
  huart4.Init.Parity = UART_PARITY_NONE;
  huart4.Init.Mode = UART_MODE_TX_RX;
  huart4.Init.HwFlowCtl = UART_HWCONTROL_NONE;
  huart4.Init.OverSampling = UART_OVERSAMPLING_16;
  if (HAL_UART_Init(&huart4) != HAL_OK)
  {
    Error_Handler();
  }

}

static void MX_UART5_Init(void)
{

  huart5.Instance = UART5;
  huart5.Init.BaudRate = 9600;
  huart5.Init.WordLength = UART_WORDLENGTH_8B;
  huart5.Init.StopBits = UART_STOPBITS_1;
  huart5.Init.Parity = UART_PARITY_NONE;
  huart5.Init.Mode = UART_MODE_TX_RX;
  huart5.Init.HwFlowCtl = UART_HWCONTROL_NONE;
  huart5.Init.OverSampling = UART_OVERSAMPLING_16;
  if (HAL_UART_Init(&huart5) != HAL_OK)
  {
    Error_Handler();
  }

}

static void MX_DMA_Init(void)
{

  /* DMA controller clock enable */
  __HAL_RCC_DMA2_CLK_ENABLE();

  /* DMA interrupt init */
  /* DMA2_Stream0_IRQn interrupt configuration */
  HAL_NVIC_SetPriority(DMA2_Stream0_IRQn, 0, 0);
  HAL_NVIC_EnableIRQ(DMA2_Stream0_IRQn);

}

static void MX_GPIO_Init(void)
{
  GPIO_InitTypeDef GPIO_InitStruct = {0};

  /* GPIO Ports Clock Enable */
  __HAL_RCC_GPIOC_CLK_ENABLE();
  __HAL_RCC_GPIOH_CLK_ENABLE();
  __HAL_RCC_GPIOA_CLK_ENABLE();
  __HAL_RCC_GPIOE_CLK_ENABLE();
  __HAL_RCC_GPIOD_CLK_ENABLE();
  __HAL_RCC_GPIOB_CLK_ENABLE();

  /*Configure GPIO pin Output Level */
  HAL_GPIO_WritePin(GPIOC, GPIO_PIN_1, GPIO_PIN_RESET);

  /*Configure GPIO pin Output Level */
  HAL_GPIO_WritePin(GPIOA, GPIO_PIN_4, GPIO_PIN_RESET);

  /*Configure GPIO pin Output Level */
  HAL_GPIO_WritePin(GPIOE, GPIO_PIN_9|GPIO_PIN_11|GPIO_PIN_13|GPIO_PIN_14, GPIO_PIN_RESET);

  /*Configure GPIO pin : PC1 */
  GPIO_InitStruct.Pin = GPIO_PIN_1;
  GPIO_InitStruct.Mode = GPIO_MODE_OUTPUT_PP;
  GPIO_InitStruct.Pull = GPIO_NOPULL;
  GPIO_InitStruct.Speed = GPIO_SPEED_FREQ_LOW;
  HAL_GPIO_Init(GPIOC, &GPIO_InitStruct);

  /*Configure GPIO pin : PA4 */
  GPIO_InitStruct.Pin = GPIO_PIN_4;
  GPIO_InitStruct.Mode = GPIO_MODE_OUTPUT_PP;
  GPIO_InitStruct.Pull = GPIO_NOPULL;
  GPIO_InitStruct.Speed = GPIO_SPEED_FREQ_LOW;
  HAL_GPIO_Init(GPIOA, &GPIO_InitStruct);

  /*Configure GPIO pins : PE9 PE11 PE13 PE14 */
  GPIO_InitStruct.Pin = GPIO_PIN_9|GPIO_PIN_11|GPIO_PIN_13|GPIO_PIN_14;
  GPIO_InitStruct.Mode = GPIO_MODE_OUTPUT_PP;
  GPIO_InitStruct.Pull = GPIO_NOPULL;
  GPIO_InitStruct.Speed = GPIO_SPEED_FREQ_LOW;
  HAL_GPIO_Init(GPIOE, &GPIO_InitStruct);

}

void Error_Handler(void)
{
  __disable_irq();
  while (1)
  {
  }
}
